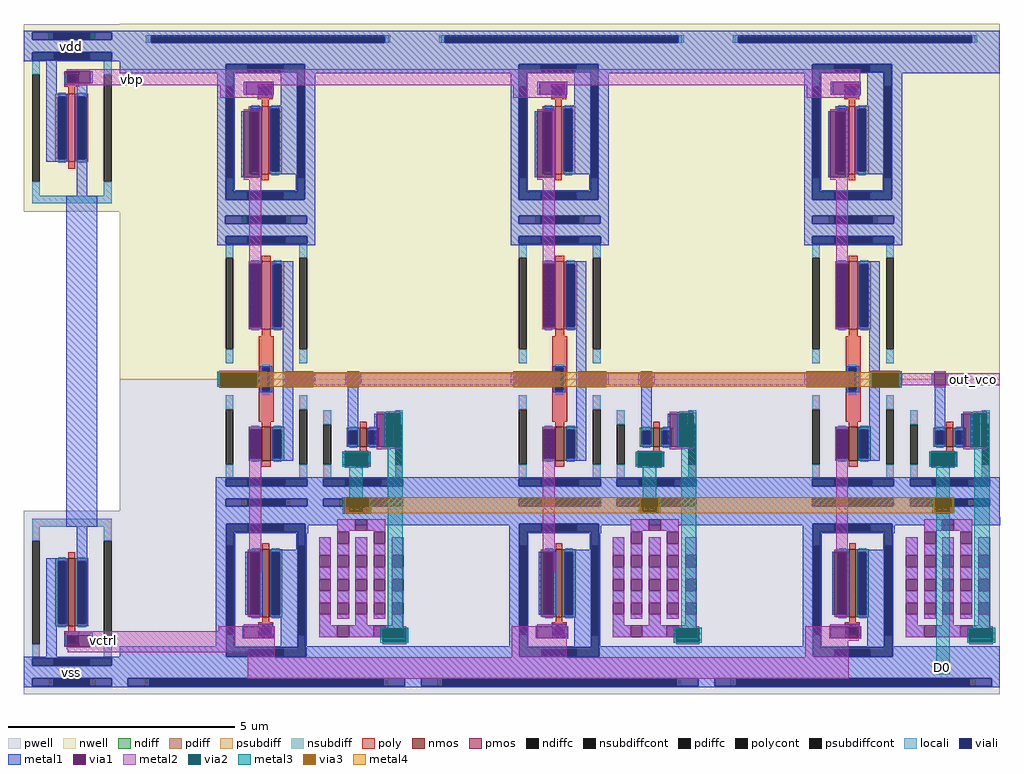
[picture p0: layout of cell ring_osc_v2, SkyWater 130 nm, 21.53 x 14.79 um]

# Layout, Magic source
magic
tech sky130A
magscale 1 2
<< nwell >>
rect -422 2867 0 2956
<< pwell >>
rect 1294 809 1725 1389
rect 2588 809 3019 1389
rect -422 165 -411 166
rect -422 0 0 165
<< psubdiff >>
rect -314 36 -290 70
rect -132 36 -108 70
<< nsubdiff >>
rect -314 2886 -290 2920
rect -132 2886 -108 2920
<< psubdiffcont >>
rect -290 36 -132 70
<< nsubdiffcont >>
rect -290 2886 -132 2920
<< viali >>
rect -386 2886 -290 2920
rect -290 2886 -132 2920
rect -132 2886 -36 2920
rect -386 2797 -36 2831
rect -386 125 -36 159
rect -386 36 -290 70
rect -290 36 -132 70
rect -132 36 -36 70
<< metal1 >>
rect -422 2920 3882 2926
rect -422 2886 -386 2920
rect -36 2898 3882 2920
rect -36 2886 0 2898
rect -422 2831 0 2886
rect -422 2797 -386 2831
rect -36 2797 0 2831
rect -422 2791 0 2797
rect -324 2348 -278 2791
rect -243 2695 -233 2747
rect -129 2695 -119 2747
rect 1264 2738 1323 2781
rect 2559 2738 2625 2801
rect 3873 2738 3882 2778
rect -243 2686 -144 2695
rect -190 2646 -144 2686
rect -190 2199 -144 2353
rect -236 739 -98 2199
rect 1294 783 1725 957
rect 2588 783 3019 957
rect 1294 779 1727 783
rect 2588 779 3021 783
rect 1295 746 1727 779
rect 2589 746 3021 779
rect -324 165 -278 599
rect -190 597 -144 739
rect -243 261 -119 270
rect -243 209 -233 261
rect -129 209 -119 261
rect -422 159 0 165
rect -422 125 -386 159
rect -36 125 0 159
rect -422 70 0 125
rect 686 70 3266 165
rect -422 36 -386 70
rect -36 36 0 70
rect -422 30 0 36
<< via1 >>
rect -233 2695 -129 2747
rect -233 209 -129 261
<< metal2 >>
rect -233 2747 3266 2757
rect -129 2695 3266 2747
rect -233 2685 3266 2695
rect 443 2631 678 2685
rect 1736 2631 1971 2685
rect 3031 2638 3266 2685
rect 440 1417 608 1427
rect 3316 1417 3440 1427
rect 1255 1363 1757 1415
rect 2557 1363 3030 1415
rect 440 1351 608 1361
rect 3651 1363 3882 1415
rect 3316 1351 3440 1361
rect 436 299 678 300
rect 436 278 684 299
rect -230 271 684 278
rect -233 261 684 271
rect -129 209 684 261
rect -233 199 684 209
rect -230 184 684 199
rect 564 162 684 184
rect 1730 162 1971 295
rect 3023 162 3214 294
rect 564 68 3215 162
<< via2 >>
rect 440 1361 608 1417
rect 3316 1361 3440 1417
<< metal3 >>
rect 430 1421 618 1422
rect 430 1417 441 1421
rect 607 1417 618 1421
rect 430 1361 440 1417
rect 608 1361 618 1417
rect 430 1357 441 1361
rect 607 1357 618 1361
rect 430 1356 618 1357
rect 3306 1421 3450 1425
rect 3306 1417 3317 1421
rect 3306 1361 3316 1417
rect 3306 1357 3317 1361
rect 3440 1357 3450 1421
rect 3306 1353 3450 1357
rect 3601 868 3661 1007
rect 983 797 993 868
rect 1100 797 1110 868
rect 2289 799 2299 867
rect 2377 799 2387 867
rect 3584 799 3594 866
rect 3672 799 3682 866
rect 3601 88 3661 799
<< via3 >>
rect 441 1417 607 1421
rect 441 1361 607 1417
rect 441 1357 607 1361
rect 3317 1417 3440 1421
rect 3317 1361 3440 1417
rect 3317 1357 3440 1361
rect 993 797 1100 868
rect 2299 799 2377 867
rect 3594 799 3672 866
<< metal4 >>
rect 440 1421 608 1422
rect 3316 1421 3441 1422
rect 440 1357 441 1421
rect 607 1357 3317 1421
rect 3440 1357 3441 1421
rect 440 1356 608 1357
rect 3316 1356 3441 1357
rect 992 868 3680 869
rect 992 797 993 868
rect 1100 867 3680 868
rect 1100 799 2299 867
rect 2377 866 3680 867
rect 2377 799 3594 866
rect 3672 799 3680 866
rect 1100 798 3680 799
rect 1100 797 1101 798
rect 992 796 1101 797
use csvco_branch_v2  csvco_branch_v2_1
transform 1 0 1657 0 1 1002
box -363 -1002 932 1955
use csvco_branch_v2  csvco_branch_v2_2
transform 1 0 2951 0 1 1002
box -363 -1002 932 1955
use sky130_fd_pr__pfet_01v8_4757AC  sky130_fd_pr__pfet_01v8_4757AC_0
transform 1 0 -211 0 1 2498
box -211 -369 211 369
use sky130_fd_pr__nfet_01v8_CBAU6Y  sky130_fd_pr__nfet_01v8_CBAU6Y_0
transform 1 0 -211 0 1 449
box -211 -360 211 360
use csvco_branch_v2  csvco_branch_v2_0
transform 1 0 363 0 1 1002
box -363 -1002 932 1955
<< labels >>
rlabel metal1 -422 70 0 125 1 vss
rlabel metal1 -422 2831 0 2886 1 vdd
rlabel metal2 3651 1363 3882 1415 1 out_vco
rlabel metal3 3601 88 3661 148 1 D0
rlabel metal2 -105 212 -39 260 1 vctrl
rlabel metal2 41 2699 69 2726 1 vbp
<< end >>

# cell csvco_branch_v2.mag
magic
tech sky130A
magscale 1 2
<< nwell >>
rect -363 387 931 1955
<< pwell >>
rect -363 -680 931 387
rect -363 -771 162 -680
rect 184 -771 931 -680
rect -363 -1002 931 -771
<< psubdiff >>
rect 608 -174 632 -140
rect 790 -174 814 -140
rect -255 -966 -231 -932
rect 799 -966 823 -932
<< nsubdiff >>
rect -247 1871 -223 1905
rect 807 1871 831 1905
<< psubdiffcont >>
rect 632 -174 790 -140
rect -231 -966 799 -932
<< nsubdiffcont >>
rect -223 1871 807 1905
<< locali >>
rect -239 1871 -223 1905
rect 807 1871 823 1905
<< viali >>
rect -223 1871 807 1905
rect 104 1742 454 1776
rect 104 1214 138 1742
rect 420 1214 454 1742
rect 104 1180 454 1214
rect 536 -85 886 -51
rect 536 -174 632 -140
rect 632 -174 790 -140
rect 790 -174 886 -140
rect 106 -285 456 -251
rect 106 -796 140 -285
rect 422 -796 456 -285
rect 106 -837 459 -796
rect -327 -966 -231 -932
rect -231 -966 799 -932
rect 799 -966 895 -932
<< metal1 >>
rect -363 1905 931 1911
rect -363 1871 -223 1905
rect 807 1871 931 1905
rect -363 1776 931 1871
rect -363 1736 104 1776
rect 68 1180 104 1736
rect 138 1736 420 1742
rect 138 1220 144 1736
rect 185 1641 195 1699
rect 307 1641 317 1699
rect 247 1630 311 1641
rect 347 1595 420 1736
rect 174 1278 184 1569
rect 252 1278 262 1569
rect 342 1291 420 1595
rect 414 1220 420 1291
rect 138 1214 420 1220
rect 454 1736 931 1776
rect 454 1180 500 1736
rect 68 1108 500 1180
rect 209 897 261 907
rect 209 607 261 617
rect 68 361 78 413
rect 286 361 296 413
rect 356 361 366 413
rect 490 361 500 413
rect 631 361 641 413
rect 693 361 703 413
rect 209 167 261 177
rect 644 173 690 361
rect 760 89 770 234
rect 831 89 841 234
rect 209 27 261 37
rect 619 8 629 60
rect 733 8 743 60
rect 61 -174 81 -45
rect 500 -51 931 -45
rect 500 -85 536 -51
rect 886 -85 931 -51
rect 500 -140 931 -85
rect 500 -174 536 -140
rect 886 -174 931 -140
rect 61 -220 931 -174
rect 61 -251 932 -220
rect 61 -790 106 -251
rect 456 -256 932 -251
rect 456 -257 737 -256
rect -363 -837 106 -790
rect 140 -291 422 -285
rect 140 -790 146 -291
rect 416 -364 422 -291
rect 191 -651 201 -374
rect 258 -651 268 -374
rect 249 -701 313 -692
rect 178 -704 313 -701
rect 178 -756 184 -704
rect 308 -756 318 -704
rect 347 -790 422 -364
rect 140 -796 422 -790
rect 456 -291 468 -257
rect 456 -790 462 -291
rect 456 -796 931 -790
rect 459 -837 931 -796
rect -363 -932 931 -837
rect -363 -966 -327 -932
rect 895 -966 931 -932
rect -363 -972 931 -966
<< via1 >>
rect 195 1641 307 1699
rect 184 1278 252 1569
rect 209 617 261 897
rect 78 361 286 413
rect 366 361 490 413
rect 641 361 693 413
rect 209 37 261 167
rect 770 89 831 234
rect 629 8 733 60
rect 201 -651 258 -374
rect 184 -756 308 -704
<< metal2 >>
rect 195 1699 307 1709
rect 80 1641 195 1682
rect 307 1641 312 1682
rect 80 1629 312 1641
rect 184 1574 252 1579
rect 184 1569 261 1574
rect 252 1278 261 1569
rect 184 1268 261 1278
rect 209 897 261 1268
rect 209 607 261 617
rect 78 413 286 423
rect 68 361 78 413
rect 78 351 286 361
rect 366 413 490 423
rect 641 413 693 423
rect 490 361 641 413
rect 693 361 931 413
rect 366 351 490 361
rect 641 351 693 361
rect 813 244 874 245
rect 770 235 874 244
rect 770 234 813 235
rect 209 167 261 177
rect 831 89 874 90
rect 770 80 874 89
rect 770 79 831 80
rect 209 -364 261 37
rect 629 62 733 72
rect 629 -4 733 6
rect 201 -374 261 -364
rect 258 -463 261 -374
rect 201 -661 258 -651
rect 184 -703 308 -694
rect 699 -703 886 -702
rect 73 -704 321 -703
rect 73 -756 184 -704
rect 308 -756 321 -704
rect 699 -713 900 -703
rect 699 -748 797 -713
rect 73 -758 321 -756
rect 184 -766 308 -758
rect 797 -781 900 -771
<< via2 >>
rect 813 234 874 235
rect 813 90 831 234
rect 831 90 874 234
rect 629 60 733 62
rect 629 8 733 60
rect 629 6 733 8
rect 797 -771 900 -713
<< metal3 >>
rect 803 239 884 240
rect 803 235 886 239
rect 803 90 813 235
rect 874 90 886 235
rect 803 85 886 90
rect 619 62 743 67
rect 619 6 629 62
rect 733 6 743 62
rect 619 1 743 6
rect 650 -194 710 1
rect 819 -708 886 85
rect 787 -713 910 -708
rect 787 -771 797 -713
rect 900 -771 910 -713
rect 787 -776 910 -771
use cap_vco  cap_vco_0
transform 1 0 -37 0 1 -744
box 554 -6 926 514
use sky130_fd_pr__nfet_01v8_EDT3AT  sky130_fd_pr__nfet_01v8_EDT3AT_0
transform 1 0 711 0 1 100
box -211 -221 211 221
use sky130_fd_pr__nfet_01v8_CBSTVW  sky130_fd_pr__nfet_01v8_CBSTVW_0
transform 1 0 281 0 1 -544
box -211 -329 211 329
use inverter_csvco  inverter_csvco_0
transform 1 0 68 0 1 387
box 0 -597 432 757
use sky130_fd_pr__pfet_01v8_MJP3BN  sky130_fd_pr__pfet_01v8_MJP3BN_0
transform 1 0 279 0 1 1478
box -211 -334 211 334
<< labels >>
rlabel metal2 68 361 78 413 1 in
rlabel metal3 650 -194 710 6 1 D0
rlabel metal2 693 361 931 413 1 out
rlabel metal2 73 -758 177 -703 1 vctrl
rlabel metal1 -363 1776 931 1871 1 vdd
rlabel metal1 -363 -932 931 -837 1 vss
<< end >>

# cell sky130_fd_pr__pfet_01v8_4757AC: kit device sky130_fd_pr__pfet_01v8, w 1.5 l 0.15 m 1 nf 1 diffcov 100 polycov 100 guard 1 glc 1 grc 1 gtc 1 gbc 0 tbcov 100 rlcov 100 topc 1 botc 1 poverlap 0 doverlap 1 lmin 0.15 wmin 0.42 compatible {sky130_fd_pr__pfet_01v8 sky130_fd_pr__pfet_01v8_lvt sky130_fd_pr__pfet_01v8_hvt sky130_fd_pr__pfet_g5v0d10v5} full_metal 1 viasrc 100 viadrn 100 viagate 100 viagb 0 viagr 0 viagl 0 viagt 0

# cell sky130_fd_pr__nfet_01v8_CBAU6Y: kit device sky130_fd_pr__nfet_01v8, w 1.5 l 0.150 m 1 nf 1 diffcov 100 polycov 100 guard 1 glc 1 grc 1 gtc 0 gbc 1 tbcov 100 rlcov 100 topc 1 botc 1 poverlap 0 doverlap 1 lmin 0.15 wmin 0.42 compatible {sky130_fd_pr__nfet_01v8 sky130_fd_pr__nfet_01v8_lvt sky130_fd_bs_flash__special_sonosfet_star sky130_fd_pr__nfet_g5v0d10v5 sky130_fd_pr__nfet_05v0_nvt sky130_fd_pr__nfet_03v3_nvt} full_metal 1 viasrc 100 viadrn 100 viagate 100 viagb 0 viagr 0 viagl 0 viagt 0

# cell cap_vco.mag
magic
tech sky130A
<< metal1 >>
rect 317 231 357 257
rect 383 231 423 257
rect 317 229 343 231
rect 277 177 303 217
rect 277 125 303 151
rect 277 73 303 99
rect 277 23 303 47
rect 397 229 423 231
rect 317 177 343 203
rect 317 125 343 151
rect 317 73 343 99
rect 317 37 343 47
rect 357 177 383 217
rect 357 125 383 151
rect 357 73 383 99
rect 357 23 383 47
rect 397 177 423 203
rect 397 125 423 151
rect 397 73 423 99
rect 397 37 423 47
rect 437 177 463 217
rect 437 125 463 151
rect 437 73 463 99
rect 437 23 463 47
rect 277 -3 317 23
rect 343 -3 397 23
rect 423 -3 463 23
<< via1 >>
rect 357 231 383 257
rect 277 151 303 177
rect 277 99 303 125
rect 277 47 303 73
rect 317 203 343 229
rect 317 151 343 177
rect 317 99 343 125
rect 317 47 343 73
rect 357 151 383 177
rect 357 99 383 125
rect 357 47 383 73
rect 397 203 423 229
rect 397 151 423 177
rect 397 99 423 125
rect 397 47 423 73
rect 437 151 463 177
rect 437 99 463 125
rect 437 47 463 73
rect 317 -3 343 23
rect 397 -3 423 23
<< metal2 >>
rect 317 231 357 257
rect 383 231 423 257
rect 317 229 343 231
rect 277 177 303 217
rect 277 125 303 151
rect 277 73 303 99
rect 277 23 303 47
rect 397 229 423 231
rect 317 177 343 203
rect 317 125 343 151
rect 317 73 343 99
rect 317 37 343 47
rect 357 177 383 217
rect 357 125 383 151
rect 357 73 383 99
rect 357 23 383 47
rect 397 177 423 203
rect 397 125 423 151
rect 397 73 423 99
rect 397 37 423 47
rect 437 177 463 217
rect 437 125 463 151
rect 437 73 463 99
rect 437 23 463 47
rect 277 -3 317 23
rect 343 -3 397 23
rect 423 -3 463 23
<< labels >>
rlabel via1 357 231 383 257 1 b
rlabel metal2 357 -3 383 23 1 t
<< end >>

# cell sky130_fd_pr__nfet_01v8_EDT3AT: kit device sky130_fd_pr__nfet_01v8, w 0.420 l 0.150 m 1 nf 1 diffcov 100 polycov 100 guard 1 glc 1 grc 1 gtc 0 gbc 1 tbcov 100 rlcov 100 topc 0 botc 1 poverlap 0 doverlap 1 lmin 0.15 wmin 0.42 compatible {sky130_fd_pr__nfet_01v8 sky130_fd_pr__nfet_01v8_lvt sky130_fd_bs_flash__special_sonosfet_star sky130_fd_pr__nfet_g5v0d10v5 sky130_fd_pr__nfet_05v0_nvt sky130_fd_pr__nfet_03v3_nvt} full_metal 1 viasrc 100 viadrn 100 viagate 100 viagb 0 viagr 0 viagl 0 viagt 0

# cell sky130_fd_pr__nfet_01v8_CBSTVW: kit device sky130_fd_pr__nfet_01v8, w 1.5 l 0.150 m 1 nf 1 diffcov 100 polycov 100 guard 1 glc 1 grc 1 gtc 1 gbc 1 tbcov 100 rlcov 100 topc 0 botc 1 poverlap 0 doverlap 1 lmin 0.15 wmin 0.42 compatible {sky130_fd_pr__nfet_01v8 sky130_fd_pr__nfet_01v8_lvt sky130_fd_bs_flash__special_sonosfet_star sky130_fd_pr__nfet_g5v0d10v5 sky130_fd_pr__nfet_05v0_nvt sky130_fd_pr__nfet_03v3_nvt} full_metal 1 viasrc 100 viadrn 100 viagate 100 viagb 0 viagr 0 viagl 0 viagt 0

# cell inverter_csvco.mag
magic
tech sky130A
magscale 1 2
<< nwell >>
rect 0 668 432 757
rect 197 47 231 131
<< pwell >>
rect 0 -508 430 -438
rect 0 -597 432 -508
<< psubdiff >>
rect 108 -561 132 -527
rect 300 -561 324 -527
<< nsubdiff >>
rect 108 687 132 721
rect 300 687 324 721
<< psubdiffcont >>
rect 132 -561 300 -527
<< nsubdiffcont >>
rect 132 687 300 721
<< poly >>
rect 183 51 249 131
rect 183 -51 197 51
rect 231 -51 249 51
rect 183 -122 249 -51
<< polycont >>
rect 197 -51 231 51
<< locali >>
rect 197 51 231 67
rect 197 -67 231 -51
<< viali >>
rect 35 687 132 721
rect 132 687 300 721
rect 300 687 395 721
rect 36 598 396 632
rect 197 -51 231 51
rect 36 -472 396 -438
rect 36 -561 132 -527
rect 132 -561 300 -527
rect 300 -561 396 -527
<< metal1 >>
rect 0 721 432 727
rect 0 687 35 721
rect 395 687 432 721
rect 0 632 432 687
rect 0 598 36 632
rect 396 598 432 632
rect 0 592 432 598
rect 144 220 190 520
rect 185 51 243 57
rect 185 26 197 51
rect 0 -26 197 26
rect 185 -51 197 -26
rect 231 -51 243 51
rect 185 -57 243 -51
rect 288 26 334 520
rect 288 -26 432 26
rect 144 -360 190 -210
rect 288 -360 334 -26
rect 0 -438 432 -432
rect 0 -472 36 -438
rect 396 -472 432 -438
rect 0 -527 432 -472
rect 0 -561 36 -527
rect 396 -561 432 -527
rect 0 -567 432 -561
use sky130_fd_pr__nfet_01v8_AQR2CW  sky130_fd_pr__nfet_01v8_AQR2CW_0
transform 1 0 216 0 1 -254
box -216 -254 216 254
use sky130_fd_pr__pfet_01v8_HRYSXS  sky130_fd_pr__pfet_01v8_HRYSXS_0
transform 1 0 216 0 1 334
box -216 -334 216 334
<< labels >>
rlabel metal1 0 -26 197 26 1 in
rlabel metal1 288 -26 432 26 1 out
rlabel metal1 0 632 432 687 1 vbulkp
rlabel metal1 0 -527 432 -472 1 vbulkn
rlabel metal1 144 220 190 520 1 vdd
rlabel metal1 144 -360 190 -210 1 vss
<< end >>

# cell sky130_fd_pr__pfet_01v8_MJP3BN: kit device sky130_fd_pr__pfet_01v8, w 1.5 l 0.15 m 1 nf 1 diffcov 100 polycov 100 guard 1 glc 1 grc 1 gtc 1 gbc 1 tbcov 100 rlcov 100 topc 1 botc 0 poverlap 0 doverlap 1 lmin 0.15 wmin 0.42 compatible {sky130_fd_pr__pfet_01v8 sky130_fd_pr__pfet_01v8_lvt sky130_fd_pr__pfet_01v8_hvt sky130_fd_pr__pfet_g5v0d10v5} full_metal 1 viasrc 100 viadrn 100 viagate 100 viagb 0 viagr 0 viagl 0 viagt 0

# cell sky130_fd_pr__nfet_01v8_AQR2CW: kit device sky130_fd_pr__nfet_01v8, w 0.75 l 0.2 m 1 nf 1 diffcov 100 polycov 100 guard 1 glc 1 grc 1 gtc 0 gbc 1 tbcov 100 rlcov 100 topc 1 botc 0 poverlap 0 doverlap 1 lmin 0.15 wmin 0.42 compatible {sky130_fd_pr__nfet_01v8 sky130_fd_pr__nfet_01v8_lvt sky130_fd_bs_flash__special_sonosfet_star sky130_fd_pr__nfet_g5v0d10v5 sky130_fd_pr__nfet_05v0_nvt sky130_fd_pr__nfet_03v3_nvt} full_metal 1 viasrc 100 viadrn 100 viagate 100 viagb 0 viagr 0 viagl 0 viagt 0

# cell sky130_fd_pr__pfet_01v8_HRYSXS: kit device sky130_fd_pr__pfet_01v8, w 1.5 l 0.2 m 1 nf 1 diffcov 100 polycov 100 guard 1 glc 1 grc 1 gtc 1 gbc 0 tbcov 100 rlcov 100 topc 0 botc 1 poverlap 0 doverlap 1 lmin 0.15 wmin 0.42 compatible {sky130_fd_pr__pfet_01v8 sky130_fd_pr__pfet_01v8_lvt sky130_fd_pr__pfet_01v8_hvt sky130_fd_pr__pfet_g5v0d10v5} full_metal 1 viasrc 100 viadrn 100 viagate 100 viagb 0 viagr 0 viagl 0 viagt 0
